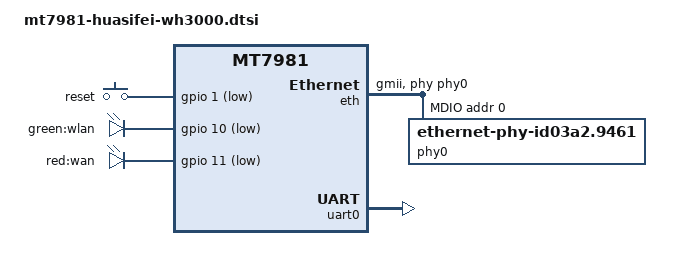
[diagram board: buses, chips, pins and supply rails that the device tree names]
// SPDX-License-Identifier: GPL-2.0

/dts-v1/;
#include "mt7981.dtsi"
#include <dt-bindings/gpio/gpio.h>

/ {
	#address-cells = <1>;
	#size-cells = <1>;

	chosen {
		stdout-path = &uart0;
		tick-timer = &timer0;
	};

	config {
		bootcmd = "mtkboardboot";
		blink_led = "green:wlan";
		system_led = "green:wlan";
	};

	gpio-keys {
		compatible = "gpio-keys";

		button-reset {
			label = "reset";
			gpios = <&gpio 1 GPIO_ACTIVE_LOW>;
		};
	};

	gpio-leds {
		compatible = "gpio-leds";

		led-0 {
			label = "green:wlan";
			gpios = <&gpio 10 GPIO_ACTIVE_LOW>;
		};

		led-1 {
			label = "red:wan";
			gpios = <&gpio 11 GPIO_ACTIVE_LOW>;
		};
	};
};

&eth {
	status = "okay";
	mediatek,gmac-id = <1>;
	phy-mode = "gmii";
	phy-handle = <&phy0>;

	mdio {
		phy0: ethernet-phy@0 {
			compatible = "ethernet-phy-id03a2.9461";
			reg = <0>;
			phy-mode = "gmii";
		};
	};
};

&uart0 {
	status = "okay";
};

&watchdog {
	status = "disabled";
};
